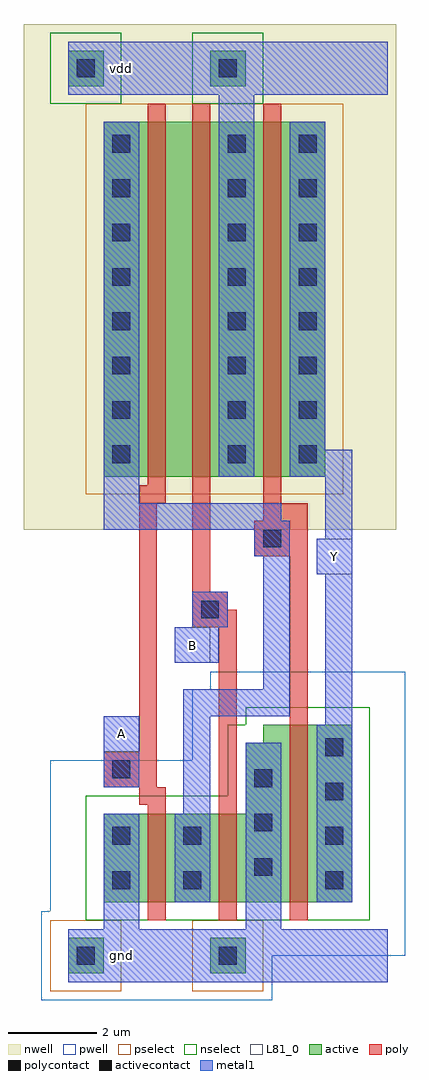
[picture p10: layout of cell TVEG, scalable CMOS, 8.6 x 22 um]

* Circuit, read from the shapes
.subckt TVEG A B Y gnd vdd
M1 n1 A gnd gnd nfet w=2u l=0.4u
M2 gnd B n1 gnd nfet w=2u l=0.4u
M3 Y n1 gnd gnd nfet w=4u l=0.4u
M4 n2 A n1 vdd pfet w=8u l=0.4u
M5 vdd B n2 vdd pfet w=8u l=0.4u
M6 Y n1 vdd vdd pfet w=8u l=0.4u
.ends

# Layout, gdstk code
import gdstk
lib = gdstk.Library(unit=1e-6, precision=1e-09)
def R(c, l, rs):  # rectangles x0, y0, x1, y1
    for r in rs: c.add(gdstk.rectangle(r[:2], r[2:], *l))
def A(c, l, x, y, w, h, nx, ny, dx, dy):  # array of equal rectangles
    R(c, l, [(x+i*dx, y+j*dy, x+i*dx+w, y+j*dy+h) for i in range(nx) for j in range(ny)])
pwell = (41, 0)
nwell = (42, 0)
active = (43, 0)
pselect = (44, 0)
nselect = (45, 0)
poly = (46, 0)
polycontact = (47, 0)
activecontact = (48, 0)
metal1 = (49, 0)
L81_0 = (81, 0)

tveg = lib.new_cell('TVEG')
R(tveg, pwell, [(-1,-1,4.2,0), (-1,0,7.2,1), (-0.8,1,7.2,4.4), (2.4,4.4,7.2,6), (2.8,6,7.2,6.4)])
R(tveg, nwell, [(-1.4,9.6,7,21)])
R(tveg, active, [(-0.4,-0.4,0.4,0.4), (2.8,-0.4,3.6,0.4), (0.4,1.2,6,3.2), (3.6,3.2,6,4.8), (4,4.8,6,5.2), (0.4,10.8,5.4,18.8), (-0.4,19.6,0.4,20.4), (2.8,19.6,3.6,20.4)])
R(tveg, pselect, [(-0.8,-0.8,0.8,0.8), (2.4,-0.8,4,0.8), (0,10.4,5.8,19.2)])
R(tveg, nselect, [(0,0.8,6.4,3.6), (3.2,3.6,6.4,5.2), (3.6,5.2,6.4,5.6), (-0.8,19.2,0.8,20.8), (2.4,19.2,4,20.8)])
R(tveg, poly, [(1.4,0.8,1.8,3.4), (3,0.8,3.4,7.4), (4.6,0.8,5,9), (1.2,3.4,1.8,3.8), (0.4,3.8,1.6,4.6), (1.2,4.6,1.6,10.2), (2.4,7.4,3.4,7.8), (2.4,7.8,3.2,8.2), (2.4,8.2,2.8,19.2), (3.8,9,5,9.8), (4,9.8,5,10.2), (1.2,10.2,1.8,10.6), (4,10.2,4.4,19.2), (1.4,10.6,1.8,19.2)])
R(tveg, polycontact, [(0.6,4,1,4.4), (2.6,7.6,3,8), (4,9.2,4.4,9.6)])
A(tveg, activecontact, 5.4, 1.5, 0.4, 0.4, 1, 4, 0, 1)
A(tveg, activecontact, 3.8, 1.8, 0.4, 0.4, 1, 3, 0, 1)
A(tveg, activecontact, 0.6, 11.1, 0.4, 0.4, 1, 8, 0, 1)
A(tveg, activecontact, 3.2, 11.1, 0.4, 0.4, 1, 8, 0, 1)
A(tveg, activecontact, 4.8, 11.1, 0.4, 0.4, 1, 8, 0, 1)
R(tveg, activecontact, [(-0.2,-0.2,0.2,0.2), (3,-0.2,3.4,0.2), (0.6,1.5,1,1.9), (2.2,1.5,2.6,1.9), (0.6,2.5,1,2.9), (2.2,2.5,2.6,2.9), (-0.2,19.8,0.2,20.2), (3,19.8,3.4,20.2)])
R(tveg, metal1, [(-0.4,-0.6,6.8,0.6), (0.4,0.6,1.2,3.2), (3.6,0.6,4.4,4.8), (2,1.2,2.8,3.2), (5.2,1.2,6,5.2), (2.2,3.2,2.8,5.4), (0.4,3.8,1.2,5.4), (5.4,5.2,6,8.6), (2.2,5.4,4.6,6), (4,6,4.6,9), (2,6.6,3,7.4), (2.4,7.4,3.2,8.2), (5.2,8.6,6,9.4), (3.8,9,4.6,9.6), (5.4,9.4,6,10.8), (0.4,9.6,4.6,9.8), (0.4,9.8,4.4,10.2), (0.4,10.2,1.2,18.8), (3,10.8,3.8,19.4), (4.6,10.8,6,11.4), (4.6,11.4,5.4,18.8), (-0.4,19.4,6.8,20.6)])
R(tveg, L81_0, [(0.4,4.6,1.2,5.4), (2,6.6,2.8,7.4), (5.2,8.6,6,9.4)])
tveg.add(gdstk.Label('Y', (5.6,9), layer=49, texttype=0))
tveg.add(gdstk.Label('B', (2.4,7), layer=49, texttype=0))
tveg.add(gdstk.Label('vdd', (0.8,20), layer=49, texttype=0))
tveg.add(gdstk.Label('gnd', (0.8,0), layer=49, texttype=0))
tveg.add(gdstk.Label('A', (0.8,5), layer=49, texttype=0))

lib.write_gds('TVEG.gds')
